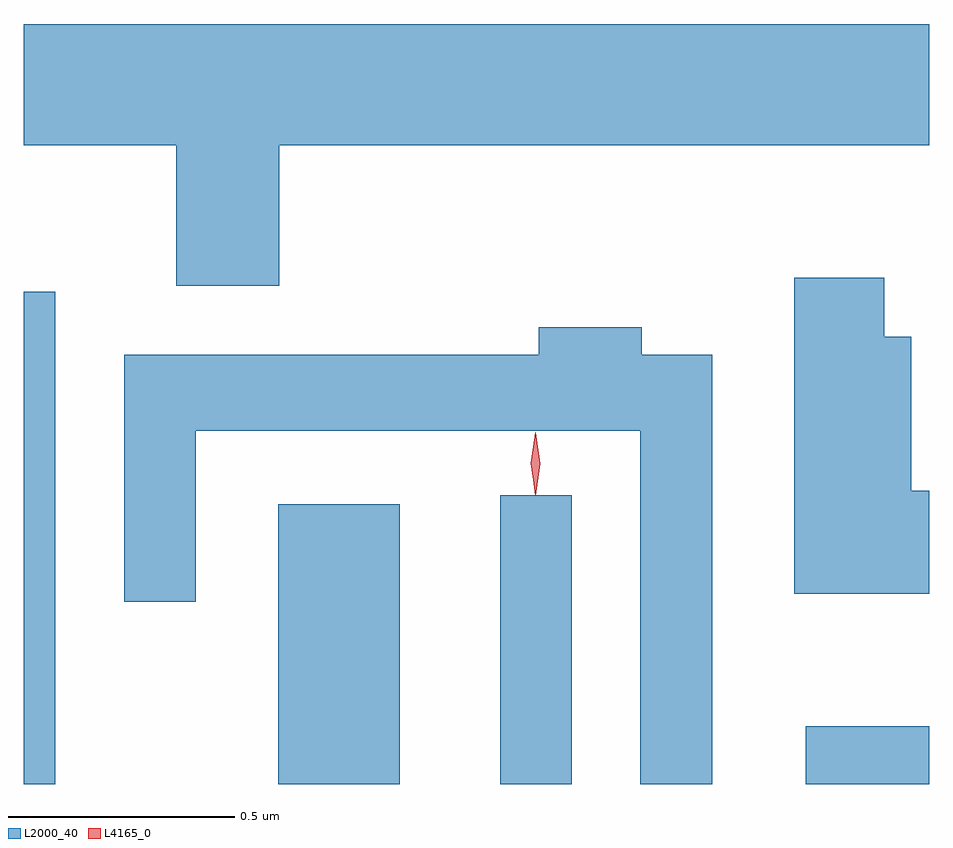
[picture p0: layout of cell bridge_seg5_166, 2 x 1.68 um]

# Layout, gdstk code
import gdstk
lib = gdstk.Library(unit=1e-6, precision=1e-09)
def R(c, l, rs):  # rectangles x0, y0, x1, y1
    for r in rs: c.add(gdstk.rectangle(r[:2], r[2:], *l))
def P(c, l, *ps):  # polygons
    for p in ps: c.add(gdstk.Polygon(p, *l))
L2000_40 = (2000, 40)
L4165_0 = (4165, 0)

bridge_seg5_166 = lib.new_cell('bridge_seg5_166')
R(bridge_seg5_166, L2000_40, [(1174.854,1417.646,1174.924,1418.733), (1175.416,1417.646,1175.684,1418.264), (1175.906,1417.646,1176.064,1418.283), (1176.581,1417.646,1176.854,1417.774)])
P(bridge_seg5_166, L2000_40, [(1175.419,1419.056),(1176.854,1419.056),(1176.854,1419.324),(1174.854,1419.324),(1174.854,1419.056),(1175.191,1419.056),(1175.191,1418.746),(1175.419,1418.746)],
  [(1176.854,1418.294),(1176.814,1418.294),(1176.814,1418.634),(1176.754,1418.634),(1176.754,1418.764),(1176.556,1418.764),(1176.556,1418.066),(1176.854,1418.066)],
  [(1176.374,1418.594),(1176.219,1418.594),(1176.219,1418.654),(1175.991,1418.654),(1175.991,1418.594),(1175.076,1418.594),(1175.076,1418.048),(1175.234,1418.048),(1175.234,1418.426),(1176.216,1418.426),(1176.216,1417.646),(1176.374,1417.646)])
P(bridge_seg5_166, L4165_0, [(1175.984,1418.287),(1175.984,1418.288),(1175.974,1418.354),(1175.984,1418.42),(1175.984,1418.42),(1175.985,1418.42),(1175.994,1418.354),(1175.985,1418.288)],
  [(1175.984,1418.284),(1175.975,1418.353),(1175.984,1418.422),(1175.985,1418.423),(1175.985,1418.422),(1175.995,1418.353),(1175.985,1418.284),(1175.985,1418.284)])

lib.write_gds('bridge_seg5_166.gds')
